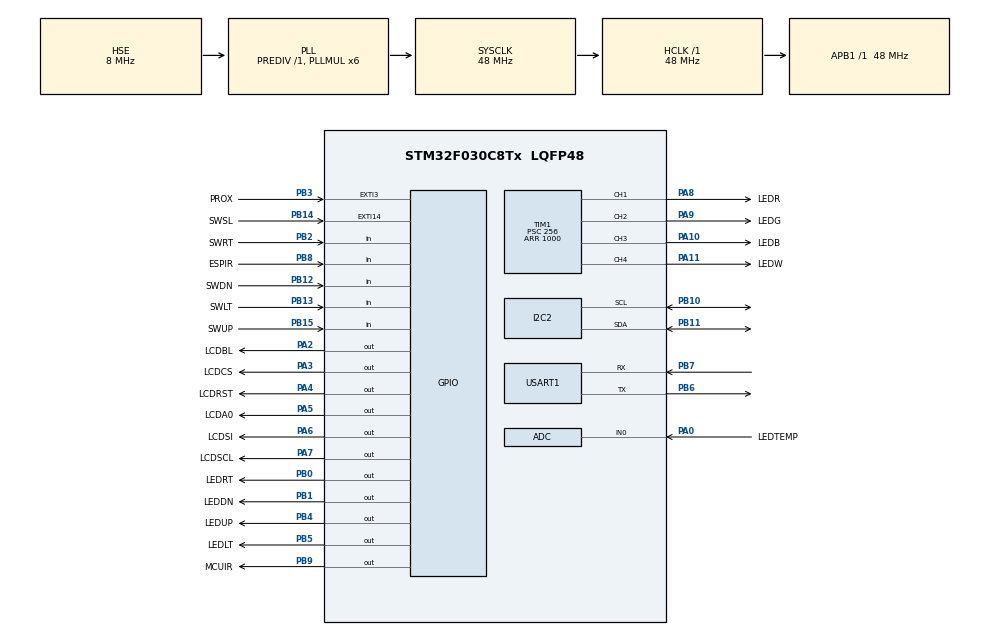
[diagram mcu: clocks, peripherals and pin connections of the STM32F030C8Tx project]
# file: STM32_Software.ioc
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I2C2.Analog_Filter=I2C_ANALOGFILTER_DISABLE
I2C2.Speed=10
I2C2.Timing=0xA010B3FF
Mcu.Family=STM32F0
Mcu.Name=STM32F030C8Tx
Mcu.Package=LQFP48
NVIC.ADC1_IRQn=true\:0\:0\:false\:false\:true\:true\:true
NVIC.I2C2_IRQn=true\:2\:0\:true\:false\:true\:true\:true
NVIC.RTC_IRQn=true\:0\:0\:false\:false\:true\:true\:true
NVIC.TIM14_IRQn=true\:0\:0\:false\:false\:true\:true\:true
NVIC.TIM3_IRQn=true\:1\:0\:true\:false\:true\:true\:true
NVIC.TIM6_IRQn=true\:0\:0\:false\:false\:true\:true\:true
PA0.GPIO_Label=LEDTEMP
PA0.Mode=IN0
PA0.Signal=ADC_IN0
PA10.GPIO_Label=LEDB
PA10.Signal=S_TIM1_CH3
PA11.GPIO_Label=LEDW
PA11.Signal=S_TIM1_CH4
PA13.Mode=Serial_Wire
PA13.Signal=SYS_SWDIO
PA14.Mode=Serial_Wire
PA14.Signal=SYS_SWCLK
PA2.GPIO_Label=LCDBL
PA2.Signal=GPIO_Output
PA3.GPIO_Label=LCDCS
PA3.Signal=GPIO_Output
PA4.GPIO_Label=LCDRST
PA4.Signal=GPIO_Output
PA5.GPIO_Label=LCDA0
PA5.Signal=GPIO_Output
PA6.GPIO_Label=LCDSI
PA6.Signal=GPIO_Output
PA7.GPIO_Label=LCDSCL
PA7.Signal=GPIO_Output
PA8.GPIO_Label=LEDR
PA8.Signal=S_TIM1_CH1
PA9.GPIO_Label=LEDG
PA9.Signal=S_TIM1_CH2
PB0.GPIO_Label=LEDRT
PB0.GPIO_ModeDefaultOutputPP=GPIO_MODE_OUTPUT_OD
PB0.Signal=GPIO_Output
PB1.GPIO_Label=LEDDN
PB1.GPIO_ModeDefaultOutputPP=GPIO_MODE_OUTPUT_OD
PB1.Signal=GPIO_Output
PB10.Mode=I2C
PB10.Signal=I2C2_SCL
PB11.Mode=I2C
PB11.Signal=I2C2_SDA
PB12.GPIO_Label=SWDN
PB12.Signal=GPIO_Input
PB13.GPIO_Label=SWLT
PB13.Signal=GPIO_Input
PB14.GPIO_Label=SWSL
PB14.GPIO_ModeDefaultEXTI=GPIO_MODE_IT_RISING_FALLING
PB14.Signal=GPXTI14
PB15.GPIO_Label=SWUP
PB15.Signal=GPIO_Input
PB2.GPIO_Label=SWRT
PB2.Signal=GPIO_Input
PB3.GPIO_Label=PROX
PB3.Signal=GPXTI3
PB4.GPIO_Label=LEDUP
PB4.GPIO_ModeDefaultOutputPP=GPIO_MODE_OUTPUT_OD
PB4.Signal=GPIO_Output
PB5.GPIO_Label=LEDLT
PB5.GPIO_ModeDefaultOutputPP=GPIO_MODE_OUTPUT_OD
PB5.Signal=GPIO_Output
PB6.Mode=Asynchronous
PB6.Signal=USART1_TX
PB7.Mode=Asynchronous
PB7.Signal=USART1_RX
PB8.GPIO_Label=ESPIR
PB8.Signal=GPIO_Input
PB9.GPIO_Label=MCUIR
PB9.GPIO_PuPd=GPIO_PULLUP
PB9.Signal=GPIO_Output
PC14-OSC32_IN.Mode=LSE-External-Oscillator
PC14-OSC32_IN.Signal=RCC_OSC32_IN
PC15-OSC32_OUT.Mode=LSE-External-Oscillator
PC15-OSC32_OUT.Signal=RCC_OSC32_OUT
PF0-OSC_IN.Mode=HSE-External-Oscillator
PF0-OSC_IN.Signal=RCC_OSC_IN
PF1-OSC_OUT.Mode=HSE-External-Oscillator
PF1-OSC_OUT.Signal=RCC_OSC_OUT
ProjectManager.HeapSize=0x200
ProjectManager.StackSize=0x400
ProjectManager.TargetToolchain=STM32CubeIDE
RCC.AHBFreq_Value=48000000
RCC.APB1Freq_Value=48000000
RCC.APB1TimFreq_Value=48000000
RCC.HCLKFreq_Value=48000000
RCC.PLLMUL=RCC_PLL_MUL6
RCC.PLLSourceVirtual=RCC_PLLSOURCE_HSE
RCC.RTCClockSelection=RCC_RTCCLKSOURCE_LSE
RCC.SYSCLKFreq_VALUE=48000000
RCC.SYSCLKSource=RCC_SYSCLKSOURCE_PLLCLK
RTC.Alarm-Alarm\ A=RTC_ALARM_A
RTC.AlarmMaskDateWeekDay-Alarm\ A=RTC_ALARMMASK_DATEWEEKDAY
RTC.AlarmMaskHours-Alarm\ A=RTC_ALARMMASK_HOURS
RTC.AlarmMaskMinutes-Alarm\ A=RTC_ALARMMASK_MINUTES
RTC.AlarmMaskSeconds-Alarm\ A=RTC_ALARMMASK_SECONDS
SH.S_TIM1_CH1.0=TIM1_CH1,PWM Generation1 CH1
SH.S_TIM1_CH2.0=TIM1_CH2,PWM Generation2 CH2
SH.S_TIM1_CH3.0=TIM1_CH3,PWM Generation3 CH3
SH.S_TIM1_CH4.0=TIM1_CH4,PWM Generation4 CH4
TIM1.Channel-PWM\ Generation1\ CH1=TIM_CHANNEL_1
TIM1.Channel-PWM\ Generation2\ CH2=TIM_CHANNEL_2
TIM1.Channel-PWM\ Generation3\ CH3=TIM_CHANNEL_3
TIM1.Channel-PWM\ Generation4\ CH4=TIM_CHANNEL_4
TIM1.Period=1000
TIM1.Prescaler=256
TIM14.Period=1000
TIM14.Prescaler=480
TIM3.Period=1000
TIM3.Prescaler=480
TIM6.Period=500
TIM6.Prescaler=48000
USART1.VirtualMode-Asynchronous=VM_ASYNC
VP_RTC_VS_RTC_Activate.Mode=RTC_Enabled
VP_RTC_VS_RTC_Alarm_A_Intern.Mode=Alarm A
VP_RTC_VS_RTC_Calendar.Mode=RTC_Calendar
VP_TIM14_VS_ClockSourceINT.Mode=Enable_Timer
VP_TIM15_VS_ClockSourceINT.Mode=Internal
VP_TIM1_VS_ClockSourceINT.Mode=Internal
VP_TIM3_VS_ClockSourceINT.Mode=Internal
VP_TIM6_VS_ClockSourceINT.Mode=Enable_Timer
board=custom

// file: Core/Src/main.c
/* USER CODE BEGIN Header */
/**
  ******************************************************************************
  * @file           : main.c
  * @brief          : Main program body
  ******************************************************************************
  * @attention
  *
  * <h2><center>&copy; Copyright (c) 2020 STMicroelectronics.
  * All rights reserved.</center></h2>
  *
  * This software component is licensed by ST under BSD 3-Clause license,
  * the "License"; You may not use this file except in compliance with the
  * License. You may obtain a copy of the License at:
  *                        opensource.org/licenses/BSD-3-Clause
  *
  ******************************************************************************
  */
/* USER CODE END Header */

#include "main.h"
#include "adc.h"
#include "i2c.h"
#include "rtc.h"
#include "tim.h"
#include "usart.h"
#include "gpio.h"

/* USER CODE BEGIN Includes */
#include "shtc3.h"
#include "lcd_st7565.h"
#include <string.h>
#include "event_handler.h"
#include "state_machine.h"
/* USER CODE END Includes */

/* USER CODE BEGIN PD */
#define PWM_CH_R	TIM_CHANNEL_1
#define PWM_CH_G	TIM_CHANNEL_2
#define PWM_CH_B	TIM_CHANNEL_3
#define PWM_CH_W	TIM_CHANNEL_4
/* USER CODE END PD */

/* USER CODE BEGIN PV */

// Interrupt variables
//static uint8_t updateUI = 0;
//static uint8_t updateSensor = 0;

// Data buffer
uint8_t shtc3RxBuf[6];
uint8_t shtc3TxBuf[2];

// Flags
uint8_t readSHTC3 = 0;

// LCD buffer
uint8_t LCD_Buffer[1024];

/* USER CODE END PV */

void SystemClock_Config(void);

int main(void)
{

  /* MCU Configuration--------------------------------------------------------*/

  /* Reset of all peripherals, Initializes the Flash interface and the Systick. */
  HAL_Init();

  /* Configure the system clock */
  SystemClock_Config();

  /* Initialize all configured peripherals */
  MX_GPIO_Init();
  MX_RTC_Init();
  MX_TIM1_Init();
  MX_TIM15_Init();
  MX_USART1_UART_Init();
  MX_ADC_Init();
  MX_I2C2_Init();
  MX_TIM3_Init();
  MX_TIM6_Init();
  MX_TIM14_Init();
  /* USER CODE BEGIN 2 */
  HAL_RTC_DeactivateAlarm(&hrtc, RTC_ALARM_A);

	HAL_GPIO_WritePin(LEDUP_GPIO_Port, LEDUP_Pin, GPIO_PIN_RESET);
	HAL_GPIO_WritePin(LEDDN_GPIO_Port, LEDDN_Pin, GPIO_PIN_RESET);
	HAL_GPIO_WritePin(LEDLT_GPIO_Port, LEDLT_Pin, GPIO_PIN_RESET);
	HAL_GPIO_WritePin(LEDRT_GPIO_Port, LEDRT_Pin, GPIO_PIN_RESET);

	//__HAL_TIM_SET_COMPARE(&htim1, PWM_CH_R, 200);
	//HAL_TIM_PWM_Start(&htim1, PWM_CH_R);

	//HAL_TIM_Base_Start_IT(&htim3);	// UI timer
	//HAL_TIM_Base_Start_IT(&htim6);	// Sensor timer

	//HAL_I2C_Master_Transmit(&hi2c2, SHTC3_ADDR,

    st7565_init();
//=======================================================================
//Begin program
//=======================================================================

// Turn on / initialize RTC

//

//=======================================================================
// Show Startup Screen
//=======================================================================
    st7565_backlight_enable();
    st7565_set_brightness(0);
    HAL_Delay(10);

// Show startup screen
    st7565_clear_buffer(LCD_Buffer);
    st7565_drawbitmap(LCD_Buffer, 0, 0, atom_symbol, 128, 64, 10);
    st7565_drawstring(LCD_Buffer, 22, 7, "Moodlight 2020");
    st7565_drawstring(LCD_Buffer, 0, 0, "Manuel");
    st7565_drawstring(LCD_Buffer, 0, 1, "Schmid");
    st7565_drawstring(LCD_Buffer, 85, 0, "Lukas");
    st7565_drawstring(LCD_Buffer, 85, 1, "Eugster");
	st7565_write_buffer(LCD_Buffer);

    HAL_Delay(3000);
    st7565_clear_buffer(LCD_Buffer);
//=======================================================================

    event_t event;
    fsm_init();

    RTC_AlarmTypeDef sAlarm;
    HAL_RTC_GetAlarm(&hrtc, &sAlarm, RTC_ALARM_A, RTC_FORMAT_BCD);
    HAL_RTC_SetAlarm_IT(&hrtc, &sAlarm, RTC_FORMAT_BCD);

    while(1) {
        //HAL_RTC_GetAlarm(&hrtc, &sAlarm, RTC_ALARM_A, RTC_FORMAT_BCD);
        //HAL_RTC_SetAlarm_IT(&hrtc, &sAlarm, RTC_FORMAT_BCD);

        event = eh_get_event();
        if(event != EV_NO_EVENT) {
            fsm_handle_event(event);
        }
    }

    /*

st7565_write_buffer(LCD_Buffer);
*/

		/**** UI LED test
		HAL_GPIO_TogglePin(LEDUP_GPIO_Port, LEDUP_Pin);
		HAL_Delay(200);
		HAL_GPIO_TogglePin(LEDUP_GPIO_Port, LEDUP_Pin);
		HAL_GPIO_TogglePin(LEDLT_GPIO_Port, LEDLT_Pin);
		HAL_Delay(200);
		HAL_GPIO_TogglePin(LEDLT_GPIO_Port, LEDLT_Pin);
		HAL_GPIO_TogglePin(LEDDN_GPIO_Port, LEDDN_Pin);
		HAL_Delay(200);
		HAL_GPIO_TogglePin(LEDDN_GPIO_Port, LEDDN_Pin);
		HAL_GPIO_TogglePin(LEDRT_GPIO_Port, LEDRT_Pin);
		HAL_Delay(200);
		HAL_GPIO_TogglePin(LEDRT_GPIO_Port, LEDRT_Pin);
		*/
  }
  /* USER CODE END 3 */

void SystemClock_Config(void)
{
  RCC_OscInitTypeDef RCC_OscInitStruct = {0};
  RCC_ClkInitTypeDef RCC_ClkInitStruct = {0};
  RCC_PeriphCLKInitTypeDef PeriphClkInit = {0};

  /** Configure LSE Drive Capability
  */
  HAL_PWR_EnableBkUpAccess();
  __HAL_RCC_LSEDRIVE_CONFIG(RCC_LSEDRIVE_HIGH);
  /** Initializes the CPU, AHB and APB busses clocks
  */
  RCC_OscInitStruct.OscillatorType = RCC_OSCILLATORTYPE_HSI14|RCC_OSCILLATORTYPE_HSE
                              |RCC_OSCILLATORTYPE_LSE;
  RCC_OscInitStruct.HSEState = RCC_HSE_ON;
  RCC_OscInitStruct.LSEState = RCC_LSE_ON;
  RCC_OscInitStruct.HSI14State = RCC_HSI14_ON;
  RCC_OscInitStruct.HSI14CalibrationValue = 16;
  RCC_OscInitStruct.PLL.PLLState = RCC_PLL_ON;
  RCC_OscInitStruct.PLL.PLLSource = RCC_PLLSOURCE_HSE;
  RCC_OscInitStruct.PLL.PLLMUL = RCC_PLL_MUL6;
  RCC_OscInitStruct.PLL.PREDIV = RCC_PREDIV_DIV1;
  if (HAL_RCC_OscConfig(&RCC_OscInitStruct) != HAL_OK)
  {
    Error_Handler();
  }
  /** Initializes the CPU, AHB and APB busses clocks
  */
  RCC_ClkInitStruct.ClockType = RCC_CLOCKTYPE_HCLK|RCC_CLOCKTYPE_SYSCLK
                              |RCC_CLOCKTYPE_PCLK1;
  RCC_ClkInitStruct.SYSCLKSource = RCC_SYSCLKSOURCE_PLLCLK;
  RCC_ClkInitStruct.AHBCLKDivider = RCC_SYSCLK_DIV1;
  RCC_ClkInitStruct.APB1CLKDivider = RCC_HCLK_DIV1;

  if (HAL_RCC_ClockConfig(&RCC_ClkInitStruct, FLASH_LATENCY_1) != HAL_OK)
  {
    Error_Handler();
  }
  PeriphClkInit.PeriphClockSelection = RCC_PERIPHCLK_USART1|RCC_PERIPHCLK_RTC;
  PeriphClkInit.Usart1ClockSelection = RCC_USART1CLKSOURCE_PCLK1;
  PeriphClkInit.RTCClockSelection = RCC_RTCCLKSOURCE_LSE;
  if (HAL_RCCEx_PeriphCLKConfig(&PeriphClkInit) != HAL_OK)
  {
    Error_Handler();
  }
}

/* USER CODE BEGIN 4 */
/*void HAL_TIM_PeriodElapsedCallback(TIM_HandleTypeDef *htim)
{
	if (htim->Instance == TIM3)	{
		updateUI = 1;
	} else if (htim->Instance == TIM6) {
		updateSensor = 1;
	}
}*/
	static uint8_t counter = 0;
void HAL_RTC_AlarmAEventCallback(RTC_HandleTypeDef *hrtc) {
	if (state == HOME_SCREEN){
		if (counter<4) {
			counter += 1;
		}
		else {
			st7565_clear_buffer(LCD_Buffer);
			ah_draw_time();
			ah_draw_date();
			ah_draw_sensor();
			ah_draw_snooze();
			ah_draw_alarm();
			counter = 0;
		}
	}
}
/* USER CODE END 4 */

void Error_Handler(void)
{
}

/************************ (C) COPYRIGHT STMicroelectronics *****END OF FILE****/
